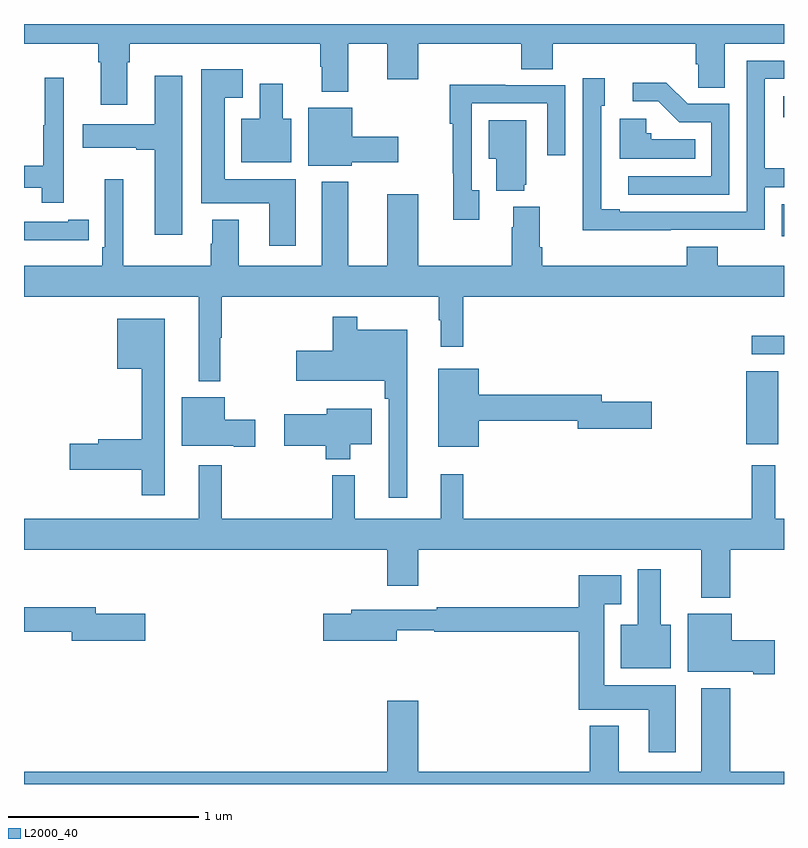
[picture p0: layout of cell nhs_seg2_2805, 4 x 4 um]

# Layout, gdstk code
import gdstk
lib = gdstk.Library(unit=1e-6, precision=1e-09)
def R(c, l, rs):  # rectangles x0, y0, x1, y1
    for r in rs: c.add(gdstk.rectangle(r[:2], r[2:], *l))
def P(c, l, *ps):  # polygons
    for p in ps: c.add(gdstk.Polygon(p, *l))
L2000_40 = (2000, 40)

nhs_seg2_2805 = lib.new_cell('nhs_seg2_2805')
R(nhs_seg2_2805, L2000_40, [(262.802,585.587,262.969,585.973), (262.83,586.062,263,586.16), (262.989,586.683,263,586.851), (262.995,587.309,263,587.419)])
P(nhs_seg2_2805, L2000_40, [(259.543,587.6),(259.556,587.6),(259.556,587.696),(260.56,587.696),(260.56,587.576),(260.567,587.576),(260.567,587.444),(260.707,587.444),(260.707,587.696),(260.912,587.696),(260.912,587.508),(261.076,587.508),(261.076,587.696),(261.617,587.696),(261.617,587.563),(261.782,587.563),(261.782,587.696),(262.535,587.696),(262.535,587.587),(262.548,587.587),(262.548,587.464),(262.687,587.464),(262.687,587.696),(263,587.696),(263,587.8),(259,587.8),(259,587.696),(259.391,587.696),(259.391,587.6),(259.403,587.6),(259.403,587.376),(259.543,587.376)],
  [(262.403,586.716),(262.899,586.716),(262.899,586.941),(263,586.941),(263,587.042),(262.899,587.042),(262.899,587.511),(263,587.511),(263,587.607),(262.803,587.607),(262.803,586.812),(262.135,586.812),(262.135,586.825),(262.038,586.825),(262.038,587.37),(262.057,587.37),(262.057,587.515),(261.942,587.515),(261.942,587.021),(261.94,587.021),(261.94,586.715),(262.403,586.715)],
  [(260.431,586.984),(260.056,586.984),(260.056,587.411),(260.152,587.411),(260.152,587.563),(259.934,587.563),(259.934,586.856),(260.291,586.856),(260.291,586.632),(260.431,586.632)],
  [(259.834,587.527),(259.688,587.527),(259.688,587.272),(259.308,587.272),(259.308,587.15),(259.592,587.15),(259.592,587.138),(259.688,587.138),(259.688,586.692),(259.834,586.692)],
  [(259.209,587.518),(259.108,587.518),(259.108,587.268),(259.101,587.268),(259.101,587.054),(259,587.054),(259,586.938),(259.093,586.938),(259.093,586.86),(259.209,586.86)],
  [(262.713,587.379),(262.494,587.379),(262.381,587.492),(262.203,587.492),(262.203,587.394),(262.337,587.394),(262.448,587.283),(262.617,587.283),(262.617,586.998),(262.179,586.998),(262.179,586.902),(262.713,586.902)],
  [(260.407,587.302),(260.362,587.302),(260.362,587.485),(260.24,587.485),(260.24,587.302),(260.144,587.302),(260.144,587.072),(260.407,587.072)],
  [(261.397,586.926),(261.357,586.926),(261.357,587.382),(261.753,587.382),(261.753,587.109),(261.849,587.109),(261.849,587.478),(261.533,587.478),(261.533,587.48),(261.241,587.48),(261.241,587.275),(261.256,587.275),(261.256,587.014),(261.26,587.014),(261.26,586.77),(261.397,586.77)],
  [(260.724,587.072),(260.971,587.072),(260.971,587.207),(260.728,587.207),(260.728,587.359),(260.495,587.359),(260.495,587.054),(260.724,587.054)],
  [(262.532,587.194),(262.302,587.194),(262.302,587.226),(262.275,587.226),(262.275,587.302),(262.136,587.302),(262.136,587.09),(262.532,587.09)],
  [(261.632,586.953),(261.643,586.953),(261.643,587.293),(261.446,587.293),(261.446,587.09),(261.485,587.09),(261.485,586.922),(261.632,586.922)],
  [(260.033,586.148),(260.041,586.148),(260.041,586.364),(261.183,586.364),(261.183,586.241),(261.194,586.241),(261.194,586.101),(261.311,586.101),(261.311,586.364),(263,586.364),(263,586.528),(262.652,586.528),(262.652,586.627),(262.487,586.627),(262.487,586.528),(261.728,586.528),(261.728,586.624),(261.715,586.624),(261.715,586.837),(261.575,586.837),(261.575,586.73),(261.568,586.73),(261.568,586.528),(261.076,586.528),(261.076,586.903),(260.912,586.903),(260.912,586.528),(260.707,586.528),(260.707,586.969),(260.567,586.969),(260.567,586.528),(260.131,586.528),(260.131,586.771),(259.991,586.771),(259.991,586.644),(259.984,586.644),(259.984,586.528),(259.522,586.528),(259.522,586.984),(259.425,586.984),(259.425,586.624),(259.412,586.624),(259.412,586.528),(259,586.528),(259,586.364),(259.919,586.364),(259.919,585.92),(260.033,585.92)],
  [(259.232,586.662),(259.34,586.662),(259.34,586.771),(259.232,586.771),(259.232,586.758),(259,586.758),(259,586.661),(259.232,586.661)],
  [(261.016,586.192),(260.755,586.192),(260.755,586.258),(260.626,586.258),(260.626,586.081),(260.433,586.081),(260.433,585.923),(260.899,585.923),(260.899,585.827),(260.919,585.827),(260.919,585.306),(261.016,585.306)],
  [(259.741,586.249),(259.49,586.249),(259.49,585.986),(259.62,585.986),(259.62,585.615),(259.391,585.615),(259.391,585.59),(259.242,585.59),(259.242,585.455),(259.62,585.455),(259.62,585.321),(259.741,585.321)],
  [(261.394,585.712),(261.914,585.712),(261.914,585.67),(262.303,585.67),(262.303,585.812),(262.042,585.812),(262.042,585.848),(261.394,585.848),(261.394,585.985),(261.179,585.985),(261.179,585.575),(261.394,585.575)],
  [(260.218,585.716),(260.056,585.716),(260.056,585.835),(259.829,585.835),(259.829,585.581),(260.105,585.581),(260.105,585.574),(260.218,585.574)],
  [(260.716,585.587),(260.83,585.587),(260.83,585.775),(260.594,585.775),(260.594,585.745),(260.37,585.745),(260.37,585.58),(260.587,585.58),(260.587,585.509),(260.716,585.509)],
  [(262.718,585.032),(263,585.032),(263,585.196),(262.954,585.196),(262.954,585.478),(262.829,585.478),(262.829,585.196),(261.311,585.196),(261.311,585.43),(261.194,585.43),(261.194,585.196),(260.741,585.196),(260.741,585.424),(260.623,585.424),(260.623,585.196),(260.041,585.196),(260.041,585.478),(259.919,585.478),(259.919,585.196),(259,585.196),(259,585.032),(260.912,585.032),(260.912,584.844),(261.076,584.844),(261.076,585.032),(262.565,585.032),(262.565,584.78),(262.718,584.78)],
  [(262.405,584.638),(262.351,584.638),(262.351,584.929),(262.229,584.929),(262.229,584.638),(262.142,584.638),(262.142,584.408),(262.405,584.408)],
  [(262.429,584.32),(262.054,584.32),(262.054,584.747),(262.144,584.747),(262.144,584.899),(261.92,584.899),(261.92,584.731),(261.172,584.731),(261.172,584.718),(260.723,584.718),(260.723,584.697),(260.574,584.697),(260.574,584.555),(260.962,584.555),(260.962,584.61),(261.158,584.61),(261.158,584.602),(261.92,584.602),(261.92,584.192),(262.289,584.192),(262.289,583.968),(262.429,583.968)],
  [(259.639,584.697),(259.378,584.697),(259.378,584.731),(259,584.731),(259,584.602),(259.25,584.602),(259.25,584.555),(259.639,584.555)],
  [(262.951,584.556),(262.726,584.556),(262.726,584.695),(262.493,584.695),(262.493,584.39),(262.838,584.39),(262.838,584.378),(262.951,584.378)],
  [(263,583.864),(262.718,583.864),(262.718,584.305),(262.565,584.305),(262.565,583.864),(262.129,583.864),(262.129,584.107),(261.977,584.107),(261.977,583.864),(261.076,583.864),(261.076,584.239),(260.912,584.239),(260.912,583.864),(259,583.864),(259,583.8),(263,583.8)])

lib.write_gds('nhs_seg2_2805.gds')
